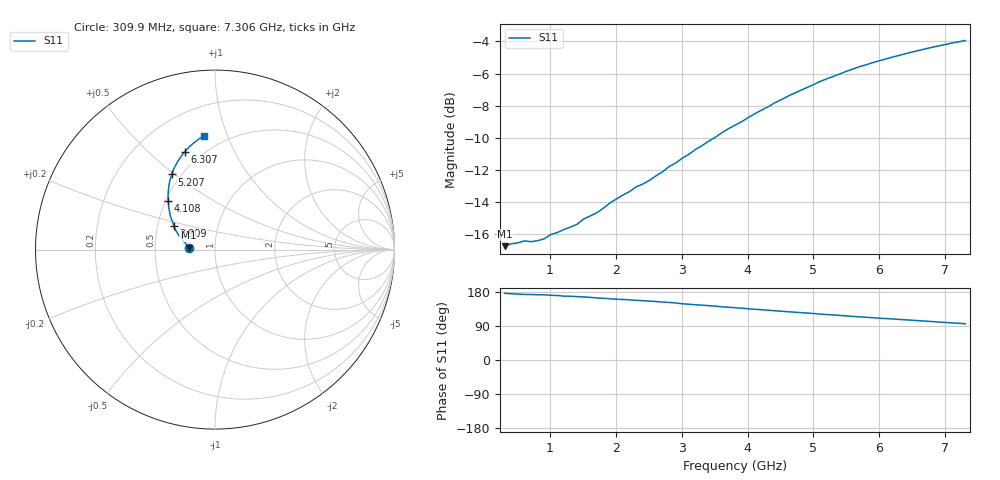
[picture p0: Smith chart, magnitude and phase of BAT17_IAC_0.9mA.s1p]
! Infineon Technologies  Discrete & RF Semiconductors
! BAT17
! IAC = 0.9 mA
! One-Port S-Parameters
# Hz  S  MA  R  50
!f  S11
!Hz  Mag  Ang
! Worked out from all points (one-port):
!   71 points, 309.9 MHz to 7.306 GHz, reference 50 ohm
!   lowest |S11| = -16.7 dB at 309.9 MHz (marker M1), VSWR 1.34, Z = 37.3 + j0.768 ohm
!   |S11| at or under -10 dB: start of sweep to 3.494 GHz
!   S11 on the Smith chart (normalised r, x): 309.9 MHz: 0.75, +0.02; 2.909 GHz: 0.61, +0.17; 4.108 GHz: 0.52, +0.33; 5.207 GHz: 0.45, +0.49; 6.307 GHz: 0.41, +0.66; 7.306 GHz: 0.39, +0.83
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3.0985e8  0.1456 176.0
6.097e8  0.1512 172.9
7.0965e8  0.1503 172.8
8.096e8  0.1514 172.2
9.0955e8  0.1535 172.1
1.0095e9  0.1581 170.8
1.2094e9  0.164 168.5
1.4093e9  0.1703 167.3
1.50925e9  0.1768 166.4
1.70915e9  0.185 163.8
1.90905e9  0.1983 161.5
2.10895e9  0.2101 159.6
2.30885e9  0.2228 157.5
2.50875e9  0.2332 155.4
2.8086e9  0.2575 151.8
2.90855e9  0.2642 150.5
3.0085e9  0.2735 148.3
3.50825e9  0.3175 142.2
3.6082e9  0.3281 140.3
3.8081e9  0.3463 138.0
4.10795e9  0.3758 133.9
4.70765e9  0.4354 126.3
5.2074e9  0.4832 119.9
5.6072e9  0.5185 114.9
6.30685e9  0.5716 107.0
6.50675e9  0.5855 104.7
6.8066e9  0.6052 101.4
7.30635e9  0.6355 95.6
